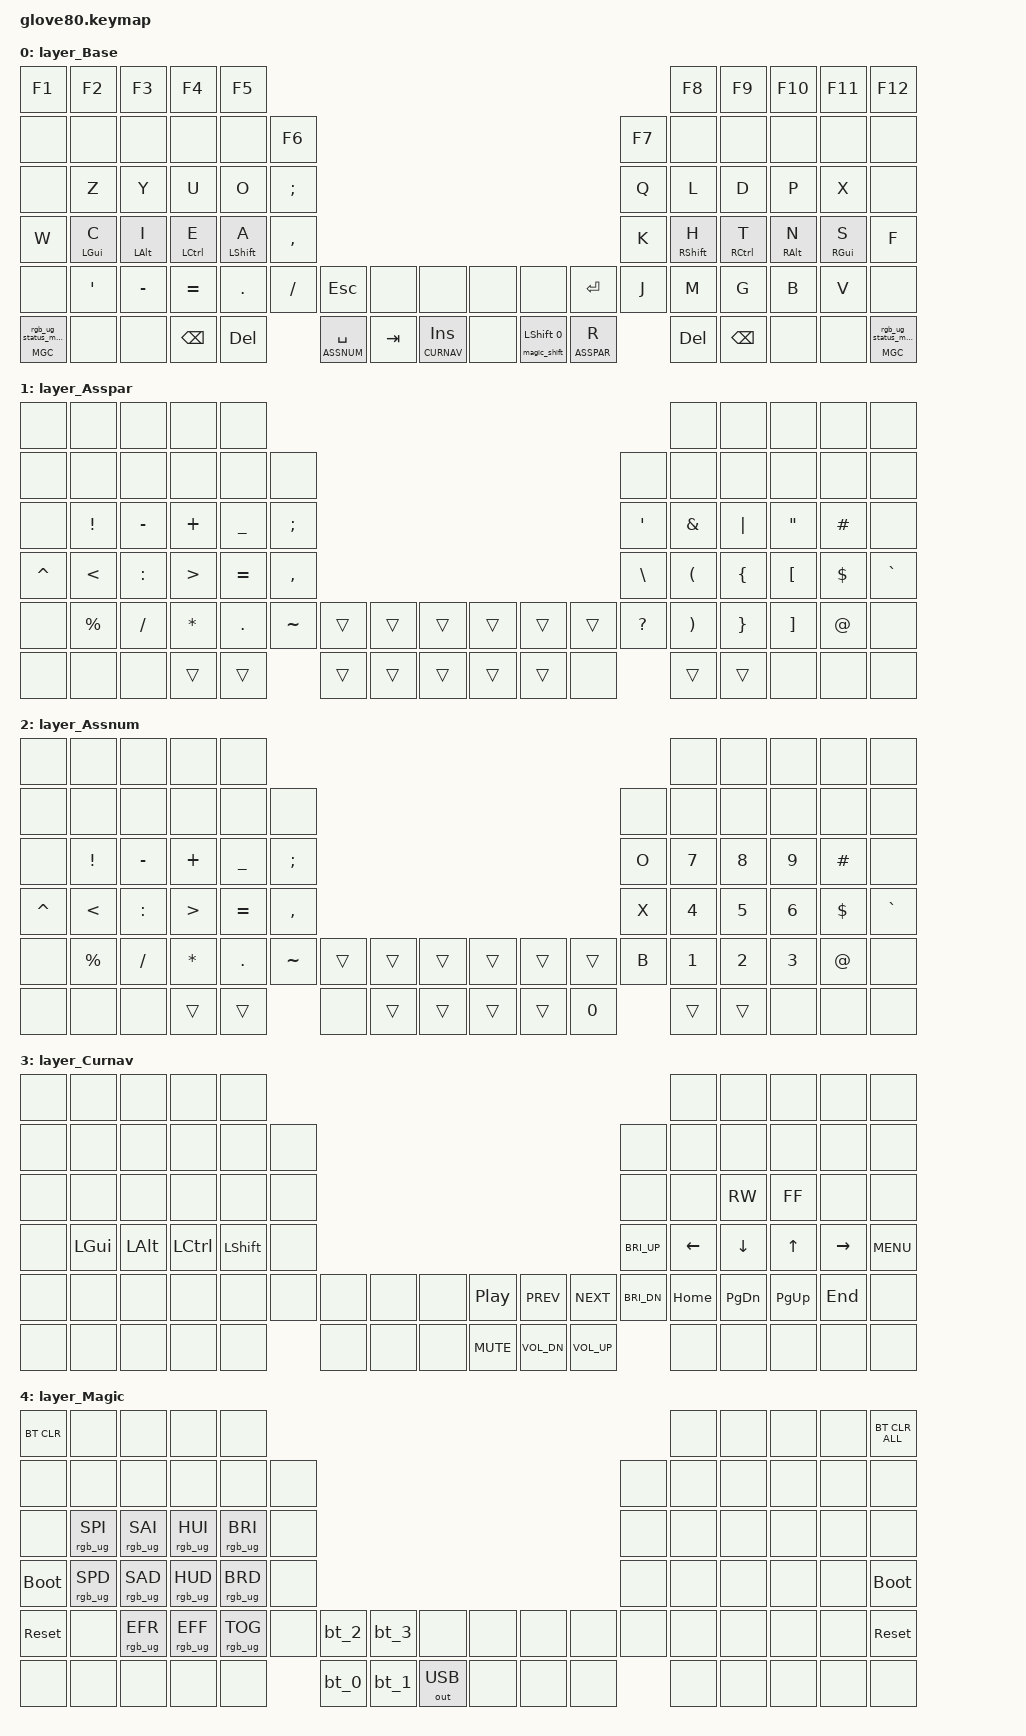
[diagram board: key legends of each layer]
#include <behaviors.dtsi>
#include <dt-bindings/zmk/keys.h>
#include <dt-bindings/zmk/bt.h>
#include <dt-bindings/zmk/rgb.h>
#include <dt-bindings/zmk/outputs.h>
#include "zmk-helpers/key-labels/glove80.h"
#include "zmk-helpers/helper.h"
#include "bluetooth.dtsi"

// Layer definitions
#define BASE 0
#define ASSPAR  1
#define ASSNUM  2
#define CURNAV  3
#define MGC  4

#define XXX &none   
#define ___ &trans   

// Configure sticky key behavior
&sk {
    release-after-ms = <500>;  // Release sticky key after 500ms
    quick-release;             // Release immediately after next keypress
};

// Key position definitions using zmk-helpers
#define KEYS_L LT0 LT1 LT2 LT3 LT4 LT5 LM0 LM1 LM2 LM3 LM4 LM5 LB0 LB1 LB2 LB3 LB4 LB5
#define KEYS_R RT0 RT1 RT2 RT3 RT4 RT5 RM0 RM1 RM2 RM3 RM4 RM5 RB0 RB1 RB2 RB3 RB4 RB5
#define THUMBS LH0 LH1 LH2 LH3 LH4 LH5 RH0 RH1 RH2 RH3 RH4 RH5

/* Troubleshooting

    Noticeable delay when tapping HRMs: Increase require-prior-idle-ms. As a rule of thumb, you want to set it to at least 10500/x where x is your (relaxed) WPM for English prose.3
    False negatives (same-hand): Reduce tapping-term-ms (or disable hold-trigger-key-positions)
    False negatives (cross-hand): Reduce require-prior-idle-ms (or set flavor to hold-preferred -- to continue using hold-trigger-on-release, you must apply this patch to ZMK
    False positives (same-hand): Increase tapping-term-ms
    False positives (cross-hand): Increase require-prior-idle-ms (or set flavor to tap-preferred, which requires holding HRMs past tapping term to activate)
*/
#define TAP_TERM          150
#define PRIOR_IDLE        150
#define QUICK_TAP         200

#define HOMEROW_FLAVOR    "balanced"
#define THUMB_FLAVOR      "balanced"

#define PINKY_TAP_TERM    (TAP_TERM + 130)
#define RING_TAP_TERM     (TAP_TERM + 90)
#define MIDDLE_TAP_TERM   (TAP_TERM + 60)
#define INDEX_TAP_TERM    (TAP_TERM + 40)
#define THUMB_TAP_TERM    (TAP_TERM + 50)

#define PINKY_PRIOR_IDLE  (PRIOR_IDLE)
#define RING_PRIOR_IDLE   (PRIOR_IDLE)
#define MIDDLE_PRIOR_IDLE (PRIOR_IDLE)
#define INDEX_PRIOR_IDLE  (PRIOR_IDLE)
#define THUMB_PRIOR_IDLE  (PRIOR_IDLE - 50)

#define PINKY_QUICK_TAP   (QUICK_TAP)
#define RING_QUICK_TAP    (QUICK_TAP)
#define MIDDLE_QUICK_TAP  (QUICK_TAP)
#define INDEX_QUICK_TAP   (QUICK_TAP)
#define THUMB_QUICK_TAP   (QUICK_TAP + 50)

/*
 * Per-finger hold-tap behaviors using urob's helpers
 * Each finger gets optimized timing based on finger strength and dexterity
 */

// Left hand hold-taps (generic)
ZMK_HOLD_TAP(ht_l_p, 
    bindings = <&kp>, <&kp>; 
    flavor = HOMEROW_FLAVOR; 
    tapping-term-ms = <PINKY_TAP_TERM>;
    quick-tap-ms = <PINKY_QUICK_TAP>; 
    require-prior-idle-ms = <PINKY_PRIOR_IDLE>;
    hold-trigger-key-positions = <KEYS_R THUMBS>; 
    hold-trigger-on-release;)

ZMK_HOLD_TAP(ht_l_r,
    bindings = <&kp>, <&kp>;
    flavor = HOMEROW_FLAVOR; 
    tapping-term-ms = <RING_TAP_TERM>;
    quick-tap-ms = <RING_QUICK_TAP>; 
    require-prior-idle-ms = <RING_PRIOR_IDLE>;
    hold-trigger-key-positions = <KEYS_R THUMBS>; 
    hold-trigger-on-release;)

ZMK_HOLD_TAP(ht_l_m,
    bindings = <&kp>, <&kp>;
    flavor = HOMEROW_FLAVOR; 
    tapping-term-ms = <MIDDLE_TAP_TERM>;
    quick-tap-ms = <MIDDLE_QUICK_TAP>; 
    require-prior-idle-ms = <MIDDLE_PRIOR_IDLE>;
    hold-trigger-key-positions = <KEYS_R THUMBS>; 
    hold-trigger-on-release;)

ZMK_HOLD_TAP(ht_l_i,
    bindings = <&kp>, <&kp>;
    flavor = HOMEROW_FLAVOR; 
    tapping-term-ms = <INDEX_TAP_TERM>;
    quick-tap-ms = <INDEX_QUICK_TAP>; 
    require-prior-idle-ms = <INDEX_PRIOR_IDLE>;
    hold-trigger-key-positions = <KEYS_R THUMBS>; 
    hold-trigger-on-release;)

// Right hand hold-taps (generic)
ZMK_HOLD_TAP(ht_r_i,
    bindings = <&kp>, <&kp>;
    flavor = HOMEROW_FLAVOR; 
    tapping-term-ms = <INDEX_TAP_TERM>;
    quick-tap-ms = <INDEX_QUICK_TAP>; 
    require-prior-idle-ms = <INDEX_PRIOR_IDLE>;
    hold-trigger-key-positions = <KEYS_L THUMBS>; 
    hold-trigger-on-release;)

ZMK_HOLD_TAP(ht_r_m,
    bindings = <&kp>, <&kp>;
    flavor = HOMEROW_FLAVOR; 
    tapping-term-ms = <MIDDLE_TAP_TERM>;
    quick-tap-ms = <MIDDLE_QUICK_TAP>; 
    require-prior-idle-ms = <MIDDLE_PRIOR_IDLE>;
    hold-trigger-key-positions = <KEYS_L THUMBS>; 
    hold-trigger-on-release;)

ZMK_HOLD_TAP(ht_r_r,
    bindings = <&kp>, <&kp>;
    flavor = HOMEROW_FLAVOR; 
    tapping-term-ms = <RING_TAP_TERM>;
    quick-tap-ms = <RING_QUICK_TAP>; 
    require-prior-idle-ms = <RING_PRIOR_IDLE>;
    hold-trigger-key-positions = <KEYS_L THUMBS>; 
    hold-trigger-on-release;)

ZMK_HOLD_TAP(ht_r_p,
    bindings = <&kp>, <&kp>;
    flavor = HOMEROW_FLAVOR; 
    tapping-term-ms = <PINKY_TAP_TERM>;
    quick-tap-ms = <PINKY_QUICK_TAP>; 
    require-prior-idle-ms = <PINKY_PRIOR_IDLE>;
    hold-trigger-key-positions = <KEYS_L THUMBS>; 
    hold-trigger-on-release;)

// Thumb layer-taps, no hold-trigger
ZMK_HOLD_TAP(lt_l_t,
    bindings = <&mo>, <&kp>;
    flavor = THUMB_FLAVOR; 
    tapping-term-ms = <THUMB_TAP_TERM>;
    quick-tap-ms = <THUMB_QUICK_TAP>; 
    require-prior-idle-ms = <THUMB_PRIOR_IDLE>;)

ZMK_HOLD_TAP(lt_r_t,
    bindings = <&mo>, <&kp>;
    flavor = THUMB_FLAVOR; 
    tapping-term-ms = <THUMB_TAP_TERM>;
    quick-tap-ms = <THUMB_QUICK_TAP>; 
    require-prior-idle-ms = <THUMB_PRIOR_IDLE>;)

/ {
    behaviors {
        magic: magic_hold_tap {
            compatible = "zmk,behavior-hold-tap";
            #binding-cells = <2>;
            flavor = "tap-preferred";
            tapping-term-ms = <200>;
            bindings = <&mo>, <&rgb_ug_status_macro>;
        };
    };

    macros {
        rgb_ug_status_macro: rgb_ug_status_macro {
            compatible = "zmk,behavior-macro";
            #binding-cells = <0>;
            bindings = <&rgb_ug RGB_STATUS>;
        };
        
        // Custom one-shot shift that won't trigger caps lock on repeated use
        custom_shift: custom_shift_macro {
            compatible = "zmk,behavior-macro";
            #binding-cells = <0>;
            wait-ms = <0>;
            tap-ms = <0>;
            bindings = <&macro_tap &sk LSHFT>;
        };
    };
};

/*
 * ═══════════════════════════════════════════════════════════════
 * ENHANCED CANCEL - Cancel all states and return to base layer
 * ═══════════════════════════════════════════════════════════════
 * Cancels caps-word, sticky keys/layers, auto-layers AND returns to base layer
 * ═══════════════════════════════════════════════════════════════
 */
#define CANCEL &cancel_macro
ZMK_MACRO(cancel_macro, bindings = <&kp K_CANCEL &to BASE>; wait-ms = <0>; tap-ms = <5>;)

/*
 * ═══════════════════════════════════════════════════════════════
 * MAGIC SHIFT - Custom tap-dance shift behavior
 * ═══════════════════════════════════════════════════════════════
 * Single tap: one-shot shift, Double tap: caps_word, Shift+tap: caps_lock
 * ═══════════════════════════════════════════════════════════════
 */
#define MAGIC_SHIFT &magic_shift LSHFT 0
ZMK_HOLD_TAP(magic_shift, bindings = <&kp>, <&shift_morph>;
             flavor = "balanced"; tapping-term-ms = <200>;
             quick-tap-ms = <THUMB_QUICK_TAP>;)
ZMK_MOD_MORPH(shift_morph, bindings = <&shift_tap_dance>, <&kp CAPS>;
              mods = <(MOD_LSFT|MOD_RSFT)>; keep-mods = <(MOD_LSFT|MOD_RSFT)>;)
ZMK_TAP_DANCE(shift_tap_dance, bindings = <&sk LSHFT>, <&caps_word>;
              tapping-term-ms = <500>;)

// TODO deutsch letters leader key

/ {
    keymap {
        compatible = "zmk,keymap";

        layer_Base {
            bindings = <
&kp F1        &kp F2          &kp F3          &kp F4           &kp F5                                                                                                                            &kp F8           &kp F9           &kp F10         &kp F11         &kp F12   
XXX           XXX             XXX             XXX              XXX              &kp F6                                                                                                  &kp F7   XXX              XXX              XXX             XXX             XXX   
XXX           &kp Z           &kp Y           &kp U            &kp O            &kp SEMI                                                                                                &kp Q    &kp L            &kp D            &kp P           &kp X           XXX   
&kp W         &ht_l_p LGUI C  &ht_l_r LALT I  &ht_l_m LCTRL E  &ht_l_i LSHFT A  &kp COMMA                                                                                               &kp K    &ht_r_i RSHFT H  &ht_r_m RCTRL T  &ht_r_r RALT N  &ht_r_p RGUI S  &kp F
XXX           &kp SQT         &kp MINUS       &kp EQUAL        &kp DOT          &kp FSLH    &kp ESC               XXX        XXX                 XXX     XXX          &kp RET           &kp J    &kp M            &kp G            &kp B           &kp V           XXX   
&magic MGC 0  XXX             XXX             &kp BSPC         &kp DEL                      &lt_l_t ASSNUM SPACE  &kp TAB    &lt_l_t CURNAV INS  XXX     MAGIC_SHIFT  &lt_r_t ASSPAR R           &kp DEL          &kp BSPC         XXX             XXX             &magic MGC 0
            >;
        };

        layer_Asspar {
            bindings = <
     &none      &none      &none     &none      &none                                                                           &none     &none     &none     &none      &none
     &none      &none      &none     &none      &none      &none                                                      &none     &none     &none     &none     &none      &none
     &none   &kp EXCL  &kp MINUS  &kp PLUS  &kp UNDER   &kp SEMI                                                    &kp SQT  &kp AMPS  &kp PIPE   &kp DQT  &kp HASH      &none
 &kp CARET     &kp LT  &kp COLON    &kp GT  &kp EQUAL  &kp COMMA                                                   &kp BSLH  &kp LPAR  &kp LBRC  &kp LBKT  &kp DLLR  &kp GRAVE
     &none  &kp PRCNT   &kp FSLH  &kp STAR    &kp DOT  &kp TILDE  &trans  &trans  &trans  &trans  &trans  &trans  &kp QMARK  &kp RPAR  &kp RBRC  &kp RBKT    &kp AT      &none
     &none      &none      &none    &trans     &trans             &trans  &trans  &trans  &trans  &trans   &none               &trans    &trans     &none     &none      &none
            >;
        };

        layer_Assnum {
            bindings = <
     &none      &none      &none     &none      &none                                                                      &none   &none   &none     &none      &none
     &none      &none      &none     &none      &none      &none                                                   &none   &none   &none   &none     &none      &none
     &none   &kp EXCL  &kp MINUS  &kp PLUS  &kp UNDER   &kp SEMI                                                   &kp O  &kp N7  &kp N8  &kp N9  &kp HASH      &none
 &kp CARET     &kp LT  &kp COLON    &kp GT  &kp EQUAL  &kp COMMA                                                   &kp X  &kp N4  &kp N5  &kp N6  &kp DLLR  &kp GRAVE
     &none  &kp PRCNT   &kp FSLH  &kp STAR    &kp DOT  &kp TILDE  &trans  &trans  &trans  &trans  &trans  &trans   &kp B  &kp N1  &kp N2  &kp N3    &kp AT      &none
     &none      &none      &none    &trans     &trans              &none  &trans  &trans  &trans  &trans  &kp N0          &trans  &trans   &none     &none      &none
            >;
        };

        layer_Curnav {
            bindings = <
  &none   &none     &none     &none      &none                                                                                            &none      &none      &none      &none      &none
  &none   &none     &none     &none      &none      &none                                                                   &none         &none      &none      &none      &none      &none
  &none   &none     &none     &none      &none      &none                                                                   &none         &none      &kp C_RW   &kp C_FF   &none      &none
  &none   &kp LGUI  &kp LALT  &kp LCTRL  &kp LSHFT  &none                                                                   &kp C_BRI_UP  &kp LEFT   &kp DOWN   &kp UP     &kp RIGHT  &kp C_MENU
  &none   &none     &none     &none      &none      &none  &none   &none   &none    &kp C_PP    &kp C_PREV    &kp C_NEXT    &kp C_BRI_DN  &kp HOME   &kp PG_DN  &kp PG_UP  &kp END    &none
  &none   &none     &none     &none      &none             &none   &none   &none   &kp C_MUTE   &kp C_VOL_DN  &kp C_VOL_UP                &none      &none      &none      &none      &none
            >;
        };

        layer_Magic {
            bindings = <
  &bt BT_CLR            &none            &none            &none            &none                                                                         &none   &none   &none   &none  &bt BT_CLR_ALL
       &none            &none            &none            &none            &none   &none                                                         &none   &none   &none   &none   &none           &none
       &none  &rgb_ug RGB_SPI  &rgb_ug RGB_SAI  &rgb_ug RGB_HUI  &rgb_ug RGB_BRI   &none                                                         &none   &none   &none   &none   &none           &none
 &bootloader  &rgb_ug RGB_SPD  &rgb_ug RGB_SAD  &rgb_ug RGB_HUD  &rgb_ug RGB_BRD   &none                                                         &none   &none   &none   &none   &none     &bootloader
  &sys_reset            &none  &rgb_ug RGB_EFR  &rgb_ug RGB_EFF  &rgb_ug RGB_TOG   &none   &bt_2   &bt_3         &none   &none   &none   &none   &none   &none   &none   &none   &none      &sys_reset
       &none            &none            &none            &none            &none           &bt_0   &bt_1  &out OUT_USB   &none   &none   &none           &none   &none   &none   &none           &none
            >;
        };
    };
};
